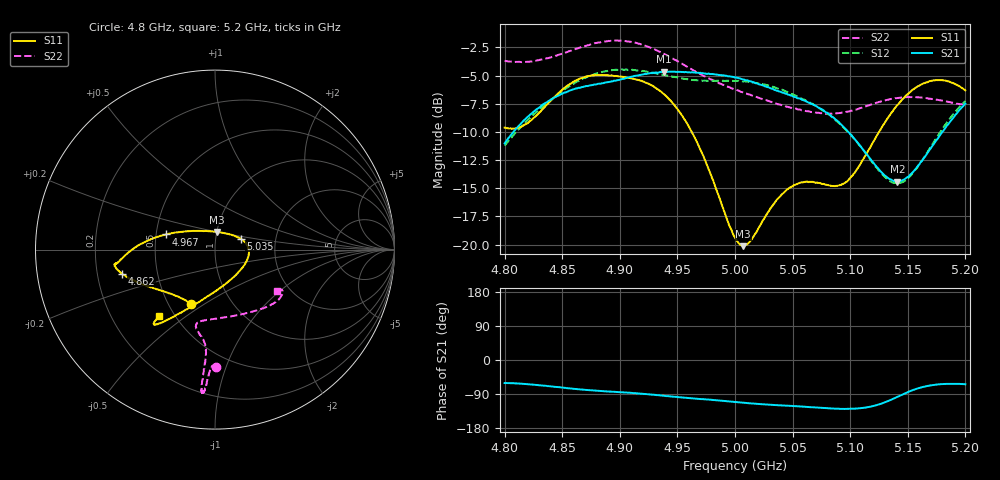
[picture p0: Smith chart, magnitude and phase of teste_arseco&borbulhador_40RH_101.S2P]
! Network Analyzer HP8722D
! Hewlett-Packard
! Data name: Linha & Wilkinson
! Saver's name: Rodrigo Anjos
! Comments: Teste da utilização de aquisição
! continua pelo VNA HP8722D
! Time and date: 15/4/2025 17:11
!  Frequency  S11  S21  S12  S22
# HZ  S  MA R 50
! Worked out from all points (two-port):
!   401 points, 4.8 GHz to 5.2 GHz, reference 50 ohm
!   highest |S21| = -4.65 dB at 4.938 GHz (marker M1); lowest = -14.4 dB at 5.141 GHz (marker M2)
!   |S21| within 3 dB of the highest: 4.832 GHz to 5.069 GHz (237.4 MHz wide, 4.79 % of centre); 5.198493 GHz to end of sweep
!   lowest |S11| = -20.1 dB at 5.007 GHz (marker M3), VSWR 1.22, Z = 50.1 + j9.9 ohm
!   |S11| at or under -10 dB: 4.962 GHz to 5.125 GHz (162.6 MHz wide, 3.22 % of centre)
!   |S22| runs from -8.4 to -1.9 dB; largest |S21 - S12| = 0.88
!   S11 on the Smith chart (normalised r, x): 4.8 GHz: 0.65, -0.44; 4.862 GHz: 0.31, -0.12; 4.967 GHz: 0.57, +0.10; 5.035 GHz: 1.32, +0.17; 5.2 GHz: 0.41, -0.40
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4.8e9  0.3307 -113.6  0.2814 -60.8  0.275 -175.0  0.6539 -89.4
4.819e9  0.3441 -133.4  0.3646 -63.6  0.353 -173.2  0.6483 -91.1
4.862e9  0.5359 -165.5  0.4935 -76.6  0.5259 -176.2  0.7405 -93.5
4.867e9  0.5494 -167.4  0.5002 -78.0  0.5424 -177.3  0.7547 -93.6
4.9e9  0.5576 -171.9  0.5388 -84.8  0.5964 176.0  0.8031 -95.0
4.934e9  0.4851 -177.8  0.5816 -93.2  0.5731 172.0  0.7193 -95.5
4.938e9  0.4672 -179.6  0.5857 -94.4  0.5662 171.9  0.7039 -95.5
4.952e9  0.3867 173.2  0.5845 -98.4  0.5493 172.4  0.6436 -95.2
4.967e9  0.2847 162.7  0.5788 -102.0  0.5359 174.1  0.5817 -95.0
5e9  0.1075 107.6  0.5504 -110.7  0.5329 176.5  0.4882 -99.3
5.007e9  0.0984 83.8  0.5405 -112.8  0.5294 176.5  0.4735 -100.9
5.014e9  0.1048 61.6  0.5302 -114.7  0.527 176.3  0.4604 -102.4
5.035e9  0.155 23.3  0.4853 -118.9  0.4974 175.2  0.4242 -103.8
5.05e9  0.1819 7.3  0.4559 -121.5  0.4652 174.6  0.4037 -100.3
5.067e9  0.1899 -11.1  0.4203 -124.6  0.4226 174.0  0.3876 -91.9
5.087e9  0.1818 -43.5  0.3602 -128.5  0.3576 173.7  0.3824 -77.1
5.097e9  0.1902 -64.7  0.3215 -129.1  0.3201 174.5  0.3887 -68.6
5.134e9  0.3728 -116.0  0.1956 -107.0  0.192 -159.8  0.4416 -43.3
5.141e9  0.4164 -119.9  0.1904 -97.1  0.1869 -148.8  0.4474 -40.2
5.153e9  0.4811 -124.8  0.2061 -81.0  0.2038 -130.1  0.4516 -35.9
5.17e9  0.5325 -128.4  0.2677 -66.9  0.2722 -113.0  0.4442 -32.0
5.2e9  0.4833 -130.2  0.4224 -63.9  0.4338 -106.0  0.4152 -33.3
